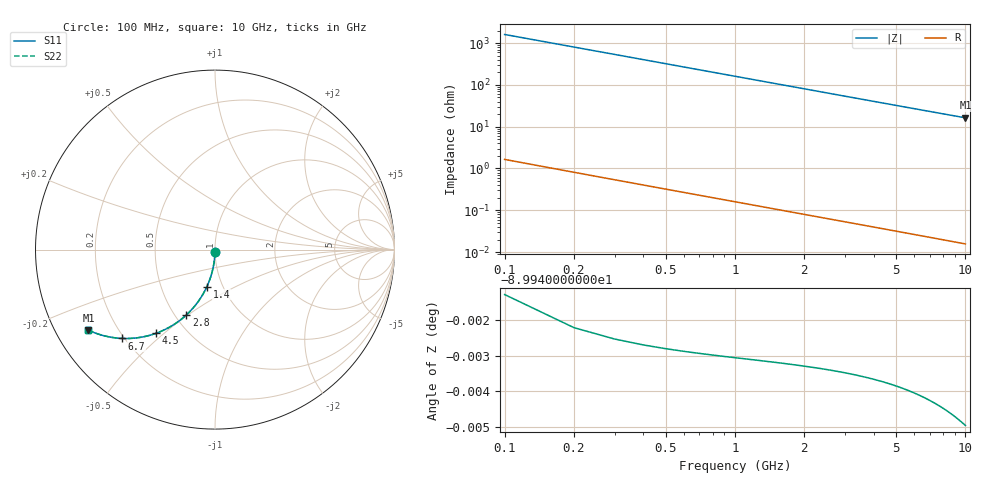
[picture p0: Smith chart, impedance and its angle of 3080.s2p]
# Hz S RI R 50.00
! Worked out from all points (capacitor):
!   100 points, 100 MHz to 10 GHz, reference 50 ohm
!   read as one part in shunt: C = 989 fF near 100 MHz
!   lowest |Z| = 16.3 ohm at 10 GHz (marker M1)
!   S11 on the Smith chart (normalised r, x): 100 MHz: 1.00, -0.03; 1.4 GHz: 0.84, -0.36; 2.8 GHz: 0.57, -0.49; 4.5 GHz: 0.34, -0.47; 6.7 GHz: 0.19, -0.39; 10 GHz: 0.10, -0.29
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1e8  -0.000235 -0.0155  0.9997 -0.0156  0.9997 -0.0156  -0.000235 -0.0155
2e8  -0.000973 -0.0309  0.999 -0.0312  0.999 -0.0312  -0.000973 -0.0309
3e8  -0.00219 -0.0463  0.9978 -0.0467  0.9978 -0.0467  -0.00219 -0.0463
4e8  -0.00389 -0.0616  0.9961 -0.0622  0.9961 -0.0622  -0.00389 -0.0616
5e8  -0.00605 -0.0769  0.9939 -0.0775  0.9939 -0.0775  -0.00605 -0.0769
6e8  -0.00868 -0.092  0.9913 -0.0928  0.9913 -0.0928  -0.00868 -0.092
7e8  -0.0118 -0.107  0.9882 -0.1079  0.9882 -0.1079  -0.0118 -0.107
9e8  -0.0193 -0.1365  0.9807 -0.1377  0.9807 -0.1377  -0.0193 -0.1365
1.1e9  -0.0285 -0.1653  0.9715 -0.1667  0.9715 -0.1667  -0.0285 -0.1653
1.4e9  -0.0453 -0.2066  0.9546 -0.2084  0.9546 -0.2084  -0.0453 -0.2066
1.8e9  -0.0727 -0.258  0.9273 -0.2603  0.9273 -0.2603  -0.0727 -0.258
2.3e9  -0.1133 -0.315  0.8867 -0.3179  0.8867 -0.3179  -0.1133 -0.315
2.8e9  -0.1591 -0.3635  0.8409 -0.367  0.8409 -0.367  -0.1591 -0.3635
3.4e9  -0.2179 -0.4101  0.7821 -0.4145  0.7821 -0.4145  -0.2179 -0.4101
3.9e9  -0.268 -0.44  0.7319 -0.445  0.7319 -0.445  -0.268 -0.44
4.5e9  -0.3275 -0.4659  0.6724 -0.4717  0.6724 -0.4717  -0.3275 -0.4659
5.1e9  -0.3846 -0.4827  0.6153 -0.4893  0.6153 -0.4893  -0.3846 -0.4827
5.9e9  -0.4552 -0.4937  0.5447 -0.5013  0.5447 -0.5013  -0.4552 -0.4937
6.7e9  -0.5185 -0.4948  0.4815 -0.5035  0.4815 -0.5035  -0.5185 -0.4948
7.5e9  -0.5741 -0.4891  0.4258 -0.4988  0.4258 -0.4988  -0.5741 -0.4891
8.4e9  -0.6282 -0.4773  0.3717 -0.4882  0.3717 -0.4882  -0.6282 -0.4773
1e10  -0.7052 -0.4489  0.2947 -0.462  0.2947 -0.462  -0.7052 -0.4489
